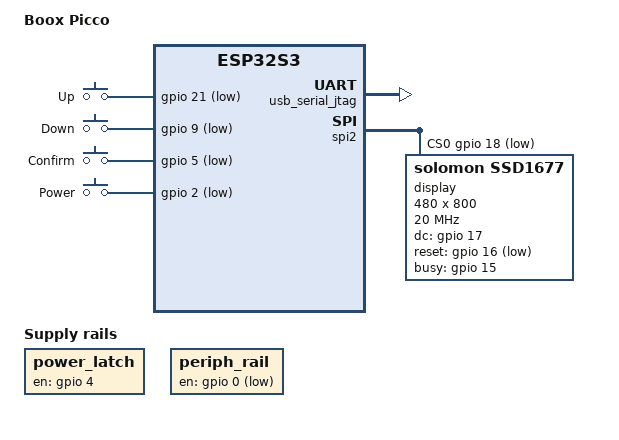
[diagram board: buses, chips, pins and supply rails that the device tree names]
// SPDX-FileCopyrightText: 2026 Core Devices LLC
// SPDX-License-Identifier: (GPL-2.0-only OR BSD-2-Clause)

/dts-v1/;

// Boox Picco e-reader: ESP32-S3 (16 MiB flash, 8 MiB octal PSRAM), 800x480 SSD1677 e-paper,
// digital buttons, TMA525C touch, I2C dual frontlight, SGM41562 charger, PCF8563 RTC, QMI8658 IMU.
// Hardware pinout confirmed by CrossPoint / FreeInk (MIT).
//
// Peripherals wired on the board awaiting drivers:
//   - I2C0 (SDA=GPIO7, SCL=GPIO8, 400 kHz): TMA525C touch @0x24 (INT=GPIO11, RST=GPIO10),
//     PiccoDualLed frontlight @0x38, SGM41562 charger @0x03, PCF8563 RTC @0x51,
//     QMI8658 6-axis IMU @0x6A
//   - Battery ADC: GPIO1 (ADC1, x2 resistor divider)
//   - Slide switch: GPIO6
//   - SDMMC 4-bit: CLK=GPIO41, CMD=GPIO42, D0=GPIO40, D1=GPIO39, D2=GPIO44, D3=GPIO43, CD=GPIO38

#include <dt-bindings/gpio/gpio.h>
#include <dt-bindings/input/input.h>
#include <dt-bindings/pinctrl/esp32s3-pinctrl.h>

#include "espressif/esp32s3.dtsi"

/ {
	model = "Boox Picco";
	compatible = "onyx,boox-picco", "esp,esp32s3";

	chosen {
		stdout-path = &usb_serial_jtag;
	};

	// Master power latch: driven HIGH from reset
	power_latch: regulator-latch {
		compatible = "regulator-fixed";
		regulator-name = "latch";
		gpios = <&gpio 4 GPIO_ACTIVE_HIGH>;
		enable-active-high;
		regulator-always-on;
	};

	// Peripheral power rail: active-LOW enable on GPIO0
	periph_rail: regulator-periph {
		compatible = "regulator-fixed";
		regulator-name = "periph-rail";
		gpios = <&gpio 0 GPIO_ACTIVE_LOW>;
		regulator-always-on;
	};

	// Active-low digital keys (Up=GPIO21, Down=GPIO9, Confirm=GPIO5, Power=GPIO2)
	gpio-keys {
		compatible = "gpio-keys";

		button-up {
			label = "Up";
			gpios = <&gpio 21 (GPIO_ACTIVE_LOW | GPIO_PULL_UP)>;
			linux,code = <KEY_UP>;
			debounce-interval = <20>;
		};

		button-down {
			label = "Down";
			gpios = <&gpio 9 (GPIO_ACTIVE_LOW | GPIO_PULL_UP)>;
			linux,code = <KEY_DOWN>;
			debounce-interval = <20>;
		};

		button-confirm {
			label = "Confirm";
			gpios = <&gpio 5 (GPIO_ACTIVE_LOW | GPIO_PULL_UP)>;
			linux,code = <KEY_SELECT>;
			debounce-interval = <20>;
		};

		button-power {
			label = "Power";
			gpios = <&gpio 2 (GPIO_ACTIVE_LOW | GPIO_PULL_UP)>;
			linux,code = <KEY_POWER>;
			debounce-interval = <20>;
		};
	};

	flash0: flash@0 {
		compatible = "esp,esp32s3-flash";
		reg = <0x0 0x1000000>;

		partitions {
			compatible = "fixed-partitions";
			#address-cells = <1>;
			#size-cells = <1>;

			partition@0 {
				label = "code";
				reg = <0x0 0x400000>;
			};
		};
	};
};

&gpio {
	status = "okay";
};

&usb_serial_jtag {
	status = "okay";
};

&io_mux {
	spi2_default: spi2-default-state {
		// Write-only SSD1677 bus: SCLK=GPIO48, MOSI=GPIO47
		out-pins {
			pinmux = <ESP32S3_PINMUX(48, ESP32S3_NOSIG, ESP32S3_SIG_FSPICLK)>,
				 <ESP32S3_PINMUX(47, ESP32S3_NOSIG, ESP32S3_SIG_FSPID)>;
		};
	};
};

&spi2 {
	pinctrl-0 = <&spi2_default>;
	pinctrl-names = "default";
	cs-gpios = <&gpio 18 GPIO_ACTIVE_LOW>;
	status = "okay";

	display: display@0 {
		compatible = "solomon,ssd1677";
		reg = <0>;
		spi-max-frequency = <20000000>;
		dc-gpios = <&gpio 17 GPIO_ACTIVE_HIGH>;
		reset-gpios = <&gpio 16 GPIO_ACTIVE_LOW>;
		busy-gpios = <&gpio 15 GPIO_ACTIVE_HIGH>;
		width = <480>;
		height = <800>;
		panel-width = <480>;
		panel-height = <800>;
		rotation = <270>;
		fast-frames = <3>;
		fast-differential;
		topup-frames = <10>;
		full-refresh-on-idle;
		power-off-idle-ms = <15000>;
	};
};
